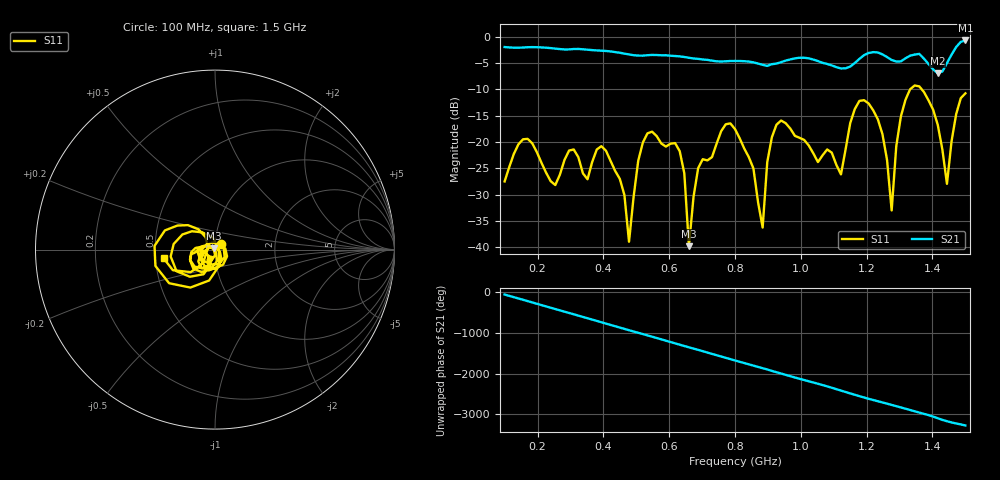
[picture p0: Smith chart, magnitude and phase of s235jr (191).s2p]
! NanoVNA-App
! Date: 2025-09-25 15:05:39
! Start: 100MHz Stop: 1,5GHz Points: 101
! S-Parameter data: F S11 S21 S12 S22
# Hz S RI R 50
!  Frequency  S11_Real  S11_Imag  S21_Real  S21_Imag  S12_Real  S12_Imag  S22_Real  S22_Imag
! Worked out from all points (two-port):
!   101 points, 100 MHz to 1.5 GHz, reference 50 ohm
!   highest |S21| = -0.71 dB at 1.5 GHz (marker M1); lowest = -6.9 dB at 1.416 GHz (marker M2)
!   |S21| within 3 dB of the highest: start of sweep to 627.4 MHz; 1.188 GHz to 1.258 GHz (69.89 MHz wide, 5.72 % of centre) (the widest 2 of 4)
!   lowest |S11| = -39.8 dB at 660 MHz (marker M3), VSWR 1.02, Z = 49.2 + j0.619 ohm
!   |S11| at or under -10 dB: start of sweep to 1.332 GHz; 1.368 GHz to end of sweep
!   S12 and S22 are empty: the file has one direction only
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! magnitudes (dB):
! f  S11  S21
! 100 MHz  -27.5  -2.0
! 156 MHz  -19.5  -2.1
! 338 MHz  -25.9  -2.4
! 408 MHz  -21.6  -2.7
! 478 MHz  -38.9  -3.4
! 520 MHz  -20.1  -3.6
! 576 MHz  -20.3  -3.5
! 632 MHz  -21.7  -3.7
! 660 MHz  -39.8  -4.0
! 688 MHz  -25.0  -4.2
! 800 MHz  -17.5  -4.6
! 884 MHz  -36.2  -5.3
! 926 MHz  -16.7  -5.1
! 1.038 GHz  -22.1  -4.3
! 1.122 GHz  -26.1  -6.0
! 1.206 GHz  -12.7  -3.1
! 1.276 GHz  -33.0  -4.4
! 1.29 GHz  -20.8  -4.7
! 1.332 GHz  -10.0  -3.6
! 1.416 GHz  -16.7  -6.9
! 1.444 GHz  -27.9  -5.0
! 1.5 GHz  -10.8  -0.7
